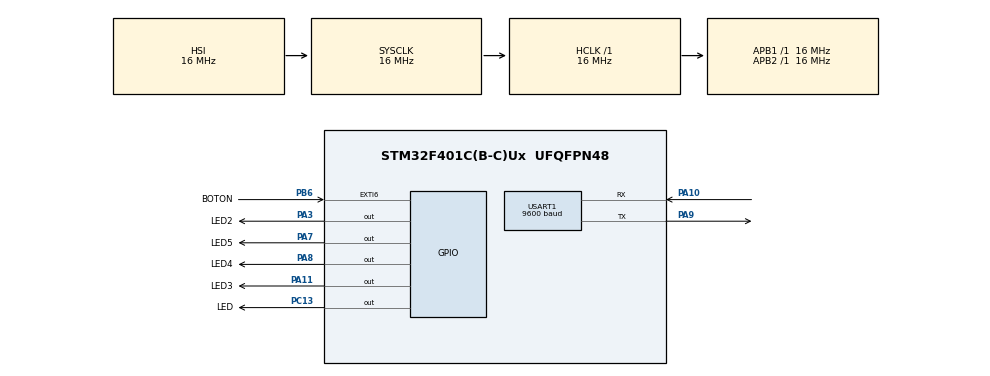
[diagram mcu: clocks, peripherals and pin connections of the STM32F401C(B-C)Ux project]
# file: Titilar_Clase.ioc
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Dma.Request0=USART1_RX
Dma.USART1_RX.0.Direction=DMA_PERIPH_TO_MEMORY
Dma.USART1_RX.0.FIFOMode=DMA_FIFOMODE_DISABLE
Dma.USART1_RX.0.Instance=DMA2_Stream2
Dma.USART1_RX.0.MemDataAlignment=DMA_MDATAALIGN_BYTE
Dma.USART1_RX.0.MemInc=DMA_MINC_ENABLE
Dma.USART1_RX.0.Mode=DMA_NORMAL
Dma.USART1_RX.0.PeriphDataAlignment=DMA_PDATAALIGN_BYTE
Dma.USART1_RX.0.PeriphInc=DMA_PINC_DISABLE
Dma.USART1_RX.0.Priority=DMA_PRIORITY_LOW
Mcu.Family=STM32F4
Mcu.Name=STM32F401C(B-C)Ux
Mcu.Package=UFQFPN48
NVIC.DMA2_Stream2_IRQn=true\:0\:0\:false\:false\:true\:false\:true\:true
NVIC.EXTI9_5_IRQn=true\:0\:0\:false\:false\:true\:true\:true\:true
NVIC.PriorityGroup=NVIC_PRIORITYGROUP_2
NVIC.TIM1_UP_TIM10_IRQn=true\:1\:0\:true\:false\:true\:true\:true\:true
NVIC.USART1_IRQn=true\:1\:0\:true\:false\:true\:true\:true\:true
PA10.Mode=Asynchronous
PA10.Signal=USART1_RX
PA11.GPIO_Label=LED3
PA11.Signal=GPIO_Output
PA3.GPIO_Label=LED2
PA3.Signal=GPIO_Output
PA7.GPIO_Label=LED5
PA7.Signal=GPIO_Output
PA8.GPIO_Label=LED4
PA8.Signal=GPIO_Output
PA9.Mode=Asynchronous
PA9.Signal=USART1_TX
PB6.GPIO_Label=BOTON
PB6.GPIO_ModeDefaultEXTI=GPIO_MODE_IT_RISING
PB6.GPIO_PuPd=GPIO_PULLDOWN
PB6.Signal=GPXTI6
PC13-ANTI_TAMP.GPIO_Label=LED
PC13-ANTI_TAMP.Signal=GPIO_Output
ProjectManager.HeapSize=0x200
ProjectManager.StackSize=0x400
ProjectManager.TargetToolchain=CMake
RCC.AHBFreq_Value=16000000
RCC.APB1Freq_Value=16000000
RCC.APB2Freq_Value=16000000
RCC.CortexFreq_Value=16000000
RCC.HSE_VALUE=25000000
RCC.HSI_VALUE=16000000
RCC.LSE_VALUE=32768
RCC.SYSCLKFreq_VALUE=16000000
RCC.VCOOutputFreq_Value=192000000
TIM1.AutoReloadPreload=TIM_AUTORELOAD_PRELOAD_ENABLE
TIM1.Period=100-1
TIM1.Prescaler=16000-1
USART1.BaudRate=9600
USART1.VirtualMode=VM_ASYNC
VP_TIM1_VS_ClockSourceINT.Mode=Internal
board=custom

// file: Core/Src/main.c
/* USER CODE BEGIN Header */
/**
  ******************************************************************************
  * @file           : main.c
  * @brief          : Main program body
  ******************************************************************************
  * @attention
  *
  * Copyright (c) 2026 STMicroelectronics.
  * All rights reserved.
  *
  * This software is licensed under terms that can be found in the LICENSE file
  * in the root directory of this software component.
  * If no LICENSE file comes with this software, it is provided AS-IS.
  *
  ******************************************************************************
  */
/* USER CODE END Header */
#include "main.h"

/* USER CODE BEGIN Includes */
#include "stdio.h"
#include "string.h"
#include "stdlib.h"
#include "stdbool.h"
#include "math.h"
#include "uart.h"
#include "UARTRX.h"
/* USER CODE END Includes */

TIM_HandleTypeDef htim1;

UART_HandleTypeDef huart1;
DMA_HandleTypeDef hdma_usart1_rx;

void SystemClock_Config(void);
static void MX_GPIO_Init(void);
static void MX_DMA_Init(void);
static void MX_TIM1_Init(void);
static void MX_USART1_UART_Init(void);

/* USER CODE BEGIN 0 */
void procesa_rx()
{
//variable para procesar inf
	if (strstr(UARTRX1.trama_rx,"Apagar")) HAL_GPIO_WritePin(LED5_GPIO_Port, LED5_Pin, GPIO_PIN_RESET);
	else if (strstr(UARTRX1.trama_rx,"Encender")) HAL_GPIO_WritePin(LED5_GPIO_Port, LED5_Pin, GPIO_PIN_SET);
  else if (strstr(UARTRX1.trama_rx,"Cambio")) HAL_GPIO_TogglePin(LED5_GPIO_Port, LED5_Pin);
}
/* USER CODE END 0 */

int main(void)
{

  /* MCU Configuration--------------------------------------------------------*/

  /* Reset of all peripherals, Initializes the Flash interface and the Systick. */
  HAL_Init();

  /* Configure the system clock */
  SystemClock_Config();

  /* Initialize all configured peripherals */
  MX_GPIO_Init();
  MX_DMA_Init();
  MX_TIM1_Init();
  MX_USART1_UART_Init();
  /* USER CODE BEGIN 2 */
  HAL_TIM_Base_Start_IT(&htim1);
  uartRX_it_idle_dma_init( &UARTRX1);
  /* USER CODE END 2 */

  /* Infinite loop */
  /* USER CODE BEGIN WHILE */
  while (1)
  {
    HAL_GPIO_TogglePin(LED_GPIO_Port, LED_Pin);
    HAL_Delay(200);

    if (UARTRX1.flag_rx==1)
	  {
	     //uartx_write_text(&huart1, UARTRX1.trama_rx);
	    procesa_rx(); //procedimeinto donde se procesan los datos
		  uartRX_DMA_Re_init(&UARTRX1);
	  }
    /* USER CODE END WHILE */

  }
}

void SystemClock_Config(void)
{
  RCC_OscInitTypeDef RCC_OscInitStruct = {0};
  RCC_ClkInitTypeDef RCC_ClkInitStruct = {0};

  /** Configure the main internal regulator output voltage
  */
  __HAL_RCC_PWR_CLK_ENABLE();
  __HAL_PWR_VOLTAGESCALING_CONFIG(PWR_REGULATOR_VOLTAGE_SCALE2);

  /** Initializes the RCC Oscillators according to the specified parameters
  * in the RCC_OscInitTypeDef structure.
  */
  RCC_OscInitStruct.OscillatorType = RCC_OSCILLATORTYPE_HSI;
  RCC_OscInitStruct.HSIState = RCC_HSI_ON;
  RCC_OscInitStruct.HSICalibrationValue = RCC_HSICALIBRATION_DEFAULT;
  RCC_OscInitStruct.PLL.PLLState = RCC_PLL_NONE;
  if (HAL_RCC_OscConfig(&RCC_OscInitStruct) != HAL_OK)
  {
    Error_Handler();
  }

  /** Initializes the CPU, AHB and APB buses clocks
  */
  RCC_ClkInitStruct.ClockType = RCC_CLOCKTYPE_HCLK|RCC_CLOCKTYPE_SYSCLK
                              |RCC_CLOCKTYPE_PCLK1|RCC_CLOCKTYPE_PCLK2;
  RCC_ClkInitStruct.SYSCLKSource = RCC_SYSCLKSOURCE_HSI;
  RCC_ClkInitStruct.AHBCLKDivider = RCC_SYSCLK_DIV1;
  RCC_ClkInitStruct.APB1CLKDivider = RCC_HCLK_DIV1;
  RCC_ClkInitStruct.APB2CLKDivider = RCC_HCLK_DIV1;

  if (HAL_RCC_ClockConfig(&RCC_ClkInitStruct, FLASH_LATENCY_0) != HAL_OK)
  {
    Error_Handler();
  }
}

static void MX_TIM1_Init(void)
{

  TIM_ClockConfigTypeDef sClockSourceConfig = {0};
  TIM_MasterConfigTypeDef sMasterConfig = {0};

  htim1.Instance = TIM1;
  htim1.Init.Prescaler = 16000-1;
  htim1.Init.CounterMode = TIM_COUNTERMODE_UP;
  htim1.Init.Period = 100-1;
  htim1.Init.ClockDivision = TIM_CLOCKDIVISION_DIV1;
  htim1.Init.RepetitionCounter = 0;
  htim1.Init.AutoReloadPreload = TIM_AUTORELOAD_PRELOAD_ENABLE;
  if (HAL_TIM_Base_Init(&htim1) != HAL_OK)
  {
    Error_Handler();
  }
  sClockSourceConfig.ClockSource = TIM_CLOCKSOURCE_INTERNAL;
  if (HAL_TIM_ConfigClockSource(&htim1, &sClockSourceConfig) != HAL_OK)
  {
    Error_Handler();
  }
  sMasterConfig.MasterOutputTrigger = TIM_TRGO_RESET;
  sMasterConfig.MasterSlaveMode = TIM_MASTERSLAVEMODE_DISABLE;
  if (HAL_TIMEx_MasterConfigSynchronization(&htim1, &sMasterConfig) != HAL_OK)
  {
    Error_Handler();
  }

}

static void MX_USART1_UART_Init(void)
{

  huart1.Instance = USART1;
  huart1.Init.BaudRate = 9600;
  huart1.Init.WordLength = UART_WORDLENGTH_8B;
  huart1.Init.StopBits = UART_STOPBITS_1;
  huart1.Init.Parity = UART_PARITY_NONE;
  huart1.Init.Mode = UART_MODE_TX_RX;
  huart1.Init.HwFlowCtl = UART_HWCONTROL_NONE;
  huart1.Init.OverSampling = UART_OVERSAMPLING_16;
  if (HAL_UART_Init(&huart1) != HAL_OK)
  {
    Error_Handler();
  }

}

static void MX_DMA_Init(void)
{

  /* DMA controller clock enable */
  __HAL_RCC_DMA2_CLK_ENABLE();

  /* DMA interrupt init */
  /* DMA2_Stream2_IRQn interrupt configuration */
  HAL_NVIC_SetPriority(DMA2_Stream2_IRQn, 0, 0);
  HAL_NVIC_EnableIRQ(DMA2_Stream2_IRQn);

}

static void MX_GPIO_Init(void)
{
  GPIO_InitTypeDef GPIO_InitStruct = {0};

  /* GPIO Ports Clock Enable */
  __HAL_RCC_GPIOC_CLK_ENABLE();
  __HAL_RCC_GPIOA_CLK_ENABLE();
  __HAL_RCC_GPIOB_CLK_ENABLE();

  /*Configure GPIO pin Output Level */
  HAL_GPIO_WritePin(LED_GPIO_Port, LED_Pin, GPIO_PIN_RESET);

  /*Configure GPIO pin Output Level */
  HAL_GPIO_WritePin(GPIOA, LED2_Pin|LED5_Pin|LED4_Pin|LED3_Pin, GPIO_PIN_RESET);

  /*Configure GPIO pin : LED_Pin */
  GPIO_InitStruct.Pin = LED_Pin;
  GPIO_InitStruct.Mode = GPIO_MODE_OUTPUT_PP;
  GPIO_InitStruct.Pull = GPIO_NOPULL;
  GPIO_InitStruct.Speed = GPIO_SPEED_FREQ_LOW;
  HAL_GPIO_Init(LED_GPIO_Port, &GPIO_InitStruct);

  /*Configure GPIO pins : LED2_Pin LED5_Pin LED4_Pin LED3_Pin */
  GPIO_InitStruct.Pin = LED2_Pin|LED5_Pin|LED4_Pin|LED3_Pin;
  GPIO_InitStruct.Mode = GPIO_MODE_OUTPUT_PP;
  GPIO_InitStruct.Pull = GPIO_NOPULL;
  GPIO_InitStruct.Speed = GPIO_SPEED_FREQ_LOW;
  HAL_GPIO_Init(GPIOA, &GPIO_InitStruct);

  /*Configure GPIO pin : BOTON_Pin */
  GPIO_InitStruct.Pin = BOTON_Pin;
  GPIO_InitStruct.Mode = GPIO_MODE_IT_RISING;
  GPIO_InitStruct.Pull = GPIO_PULLDOWN;
  HAL_GPIO_Init(BOTON_GPIO_Port, &GPIO_InitStruct);

  /* EXTI interrupt init*/
  HAL_NVIC_SetPriority(EXTI9_5_IRQn, 0, 0);
  HAL_NVIC_EnableIRQ(EXTI9_5_IRQn);

}

void Error_Handler(void)
{
  __disable_irq();
  while (1)
  {
  }
}
